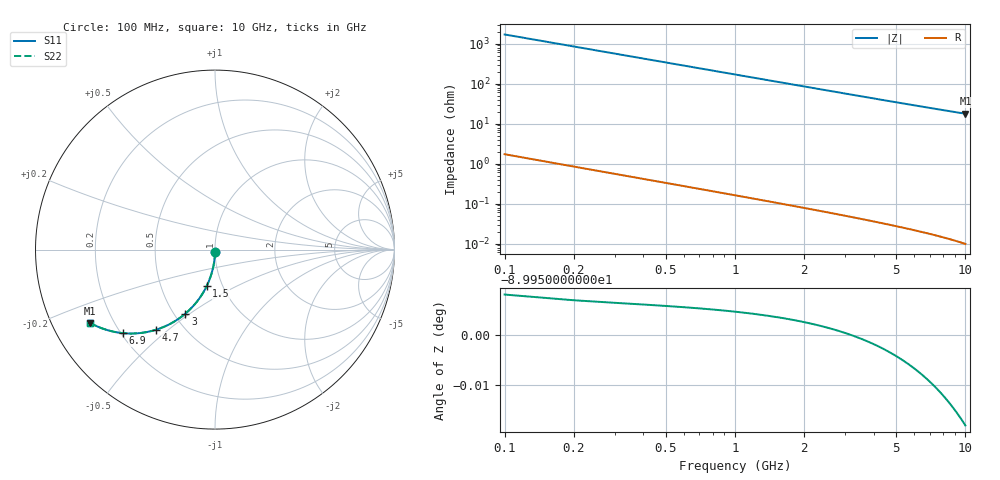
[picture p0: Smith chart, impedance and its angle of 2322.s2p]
# Hz S RI R 50.00
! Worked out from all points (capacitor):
!   100 points, 100 MHz to 10 GHz, reference 50 ohm
!   read as one part in shunt: C = 940 fF near 100 MHz
!   lowest |Z| = 17.7 ohm at 10 GHz (marker M1)
!   S11 on the Smith chart (normalised r, x): 100 MHz: 1.00, -0.03; 1.5 GHz: 0.84, -0.36; 3 GHz: 0.57, -0.48; 4.7 GHz: 0.35, -0.46; 6.9 GHz: 0.21, -0.37; 10 GHz: 0.12, -0.27
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1e8  8.62e-05 -0.0143  0.9994 -0.0152  0.9994 -0.0152  8.62e-05 -0.0143
2e8  -0.000579 -0.0285  0.9988 -0.0305  0.9988 -0.0305  -0.000579 -0.0285
3e8  -0.00168 -0.0427  0.9977 -0.0457  0.9977 -0.0457  -0.00168 -0.0427
4e8  -0.00321 -0.0569  0.9961 -0.0608  0.9961 -0.0608  -0.00321 -0.0569
5e8  -0.00516 -0.071  0.9942 -0.0758  0.9942 -0.0758  -0.00516 -0.071
6e8  -0.00754 -0.085  0.9918 -0.0908  0.9918 -0.0908  -0.00754 -0.085
7e8  -0.0103 -0.0988  0.989 -0.1056  0.989 -0.1056  -0.0103 -0.0988
9e8  -0.0171 -0.1262  0.9822 -0.1349  0.9822 -0.1349  -0.0171 -0.1262
1.2e9  -0.0303 -0.166  0.969 -0.1776  0.969 -0.1776  -0.0303 -0.166
1.5e9  -0.0466 -0.2039  0.9526 -0.2184  0.9526 -0.2184  -0.0466 -0.2039
1.8e9  -0.0659 -0.2396  0.9333 -0.257  0.9333 -0.257  -0.0659 -0.2396
2.4e9  -0.1117 -0.3034  0.8874 -0.3267  0.8874 -0.3267  -0.1117 -0.3034
3e9  -0.1644 -0.3561  0.8344 -0.3853  0.8344 -0.3853  -0.1644 -0.3561
3.4e9  -0.202 -0.3849  0.7968 -0.418  0.7968 -0.418  -0.202 -0.3849
4e9  -0.2599 -0.4189  0.7386 -0.4579  0.7386 -0.4579  -0.2599 -0.4189
4.7e9  -0.3272 -0.446  0.6711 -0.4919  0.6711 -0.4919  -0.3272 -0.446
5.1e9  -0.3645 -0.4561  0.6335 -0.506  0.6335 -0.506  -0.3645 -0.4561
5.9e9  -0.4352 -0.4665  0.5624 -0.5243  0.5624 -0.5243  -0.4352 -0.4665
6.7e9  -0.4996 -0.4665  0.4975 -0.5324  0.4975 -0.5324  -0.4996 -0.4665
6.9e9  -0.5145 -0.4652  0.4824 -0.5331  0.4824 -0.5331  -0.5145 -0.4652
8.4e9  -0.6133 -0.4443  0.3825 -0.5275  0.3825 -0.5275  -0.6133 -0.4443
1e10  -0.6944 -0.4089  0.2998 -0.5088  0.2998 -0.5088  -0.6944 -0.4089
